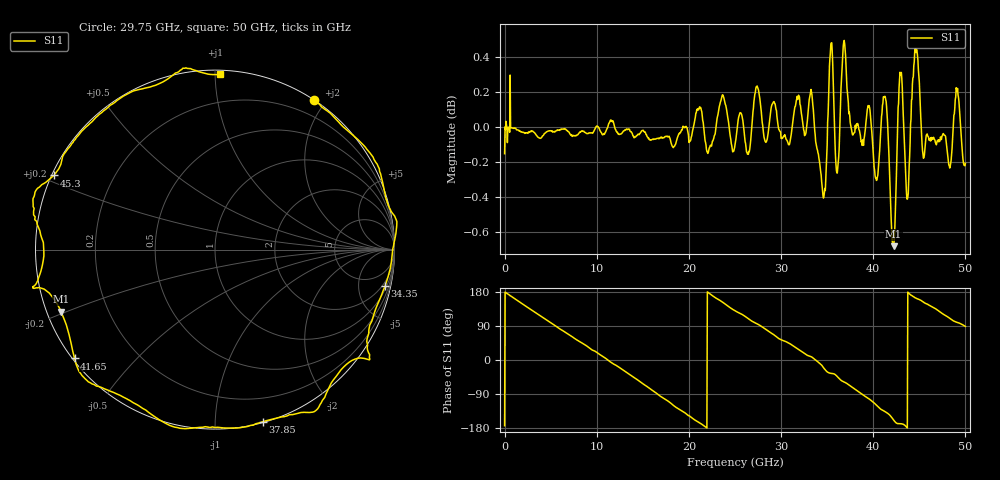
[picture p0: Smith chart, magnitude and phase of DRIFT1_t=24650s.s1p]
!Created with skrf (http://scikit-rf.org).
# Hz S RI R 50.0
!freq ReS11 ImS11
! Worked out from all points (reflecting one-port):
!   1001 points, 300 kHz to 50 GHz, reference 50 ohm
!   lowest |S11| = -0.7 dB at 42.2 GHz (marker M1), VSWR 25.52, Z = 2.03 - j9.68 ohm
!   phase of S11 starts at -173 deg and turns -818 deg over the sweep
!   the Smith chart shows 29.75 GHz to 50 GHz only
!   S11 on the Smith chart (normalised r, x): 29.75 GHz: 0.00, +1.86; 34.35 GHz: 1.37, -9.16; 37.85 GHz: 0.01, -1.32; 41.65 GHz: 0.01, -0.34; 45.3 GHz: 0.01, +0.22; 50 GHz: 0.02, +1.03
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300000  -0.9764 -0.1114
1.450291e9  -0.9123 0.405
3.25028e9  -0.5919 0.8016
6.250262e9  0.2022 0.9781
9.450243e9  0.8866 0.4545
1.250022e10  0.9319 -0.3495
1.580021e10  0.2374 -0.9628
1.74002e10  -0.2231 -0.9684
1.875019e10  -0.5988 -0.7924
2.150017e10  -0.9926 -0.153
2.350016e10  -0.9239 0.4282
2.500015e10  -0.6334 0.759
2.740014e10  -0.0952 1.023
2.975012e10  0.5512 0.8327
3.125011e10  0.7872 0.6209
3.31501e10  1.006 0.1745
3.435009e10  0.9471 -0.2046
3.520009e10  0.8554 -0.5743
3.750008e10  0.3707 -0.9321
3.785007e10  0.2684 -0.9589
3.960006e10  -0.2381 -0.9848
4.165005e10  -0.7827 -0.6063
4.220005e10  -0.8575 -0.3457
4.290004e10  -1.014 -0.2149
4.375004e10  -0.9548 0.0141
4.530003e10  -0.8981 0.413
4.770001e10  -0.4888 0.8664
5e10  0.0257 0.9761
